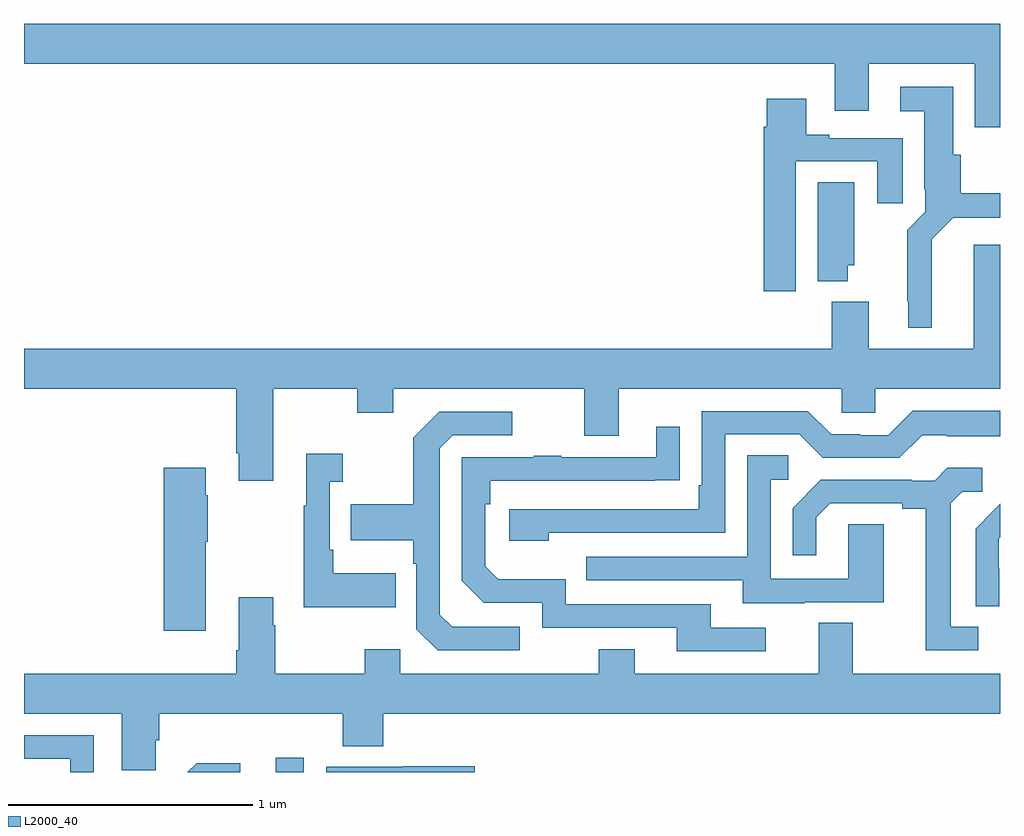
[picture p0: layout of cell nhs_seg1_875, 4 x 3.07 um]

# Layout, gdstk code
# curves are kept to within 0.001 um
import gdstk
lib = gdstk.Library(unit=1e-6, precision=1e-09)
def R(c, l, rs):  # rectangles x0, y0, x1, y1
    for r in rs: c.add(gdstk.rectangle(r[:2], r[2:], *l))
def P(c, l, *ps):  # polygons
    for p in ps: c.add(gdstk.Polygon(p, *l))
L2000_40 = (2000, 40)

nhs_seg1_875 = lib.new_cell('nhs_seg1_875')
R(nhs_seg1_875, L2000_40, [(160.031,510.199,160.146,510.259)])
P(nhs_seg1_875, L2000_40, [(163,513.268),(159,513.268),(159,513.104),(162.323,513.104),(162.323,512.91),(162.463,512.91),(162.463,513.104),(162.897,513.104),(162.897,512.844),(163,512.844)],
  [(162.721,512.384),(162.808,512.472),(163,512.472),(163,512.573),(162.839,512.573),(162.839,512.73),(162.808,512.73),(162.808,513.01),(162.591,513.01),(162.591,512.909),(162.689,512.909),(162.689,512.59),(162.693,512.59),(162.693,512.496),(162.619,512.422),(162.619,512.131),(162.623,512.131),(162.623,512.021),(162.721,512.021)],
  [(162.163,512.703),(162.497,512.703),(162.497,512.532),(162.601,512.532),(162.601,512.799),(162.301,512.799),(162.301,512.812),(162.205,512.812),(162.205,512.959),(162.044,512.959),(162.044,512.846),(162.032,512.846),(162.032,512.172),(162.163,512.172)],
  [(162.376,512.277),(162.403,512.277),(162.403,512.618),(162.254,512.618),(162.254,512.213),(162.376,512.213)],
  [(160.021,511.772),(160.366,511.772),(160.366,511.673),(160.513,511.673),(160.513,511.772),(161.297,511.772),(161.297,511.578),(161.437,511.578),(161.437,511.772),(162.351,511.772),(162.351,511.674),(162.489,511.674),(162.489,511.772),(163,511.772),(163,512.362),(162.893,512.362),(162.893,511.936),(162.463,511.936),(162.463,512.128),(162.311,512.128),(162.311,511.936),(159,511.936),(159,511.772),(159.869,511.772),(159.869,511.507),(159.881,511.507),(159.881,511.395),(160.021,511.395)],
  [(161.15,511.182),(161.874,511.182),(161.874,511.584),(162.177,511.584),(162.273,511.488),(162.588,511.488),(162.681,511.581),(162.781,511.581),(162.781,511.577),(163,511.577),(163,511.681),(162.643,511.681),(162.543,511.581),(162.428,511.581),(162.428,511.584),(162.309,511.584),(162.213,511.68),(161.778,511.68),(161.778,511.375),(161.765,511.375),(161.765,511.278),(160.989,511.278),(160.989,511.148),(161.15,511.148)],
  [(161.032,510.795),(160.755,510.795),(160.704,510.846),(160.704,511.527),(160.758,511.581),(161.002,511.581),(161.002,511.677),(160.701,511.677),(160.596,511.571),(160.596,511.299),(160.339,511.299),(160.339,511.151),(160.596,511.151),(160.596,511.055),(160.608,511.055),(160.608,510.786),(160.695,510.699),(161.032,510.699)],
  [(162.04,510.792),(161.815,510.792),(161.815,510.888),(161.22,510.888),(161.22,510.991),(160.943,510.991),(160.89,511.044),(160.89,511.298),(160.91,511.298),(160.91,511.395),(161.687,511.396),(161.687,511.615),(161.591,511.615),(161.591,511.491),(161.201,511.491),(161.201,511.496),(161.089,511.496),(161.089,511.491),(160.794,511.491),(160.794,510.984),(160.884,510.894),(161.124,510.894),(161.124,510.792),(161.675,510.792),(161.675,510.696),(162.04,510.696)],
  [(160.523,511.015),(160.267,511.015),(160.267,511.111),(160.254,511.111),(160.254,511.391),(160.306,511.391),(160.306,511.504),(160.157,511.504),(160.157,511.291),(160.146,511.291),(160.146,510.875),(160.523,510.875)],
  [(162.199,510.897),(162.523,510.897),(162.523,511.217),(162.378,511.217),(162.378,510.993),(162.06,510.993),(162.06,511.398),(162.133,511.398),(162.133,511.499),(161.964,511.499),(161.964,511.083),(161.305,511.083),(161.305,510.987),(161.945,510.987),(161.945,510.893),(162.199,510.893)],
  [(162.91,510.795),(162.799,510.795),(162.799,511.303),(162.846,511.35),(162.928,511.35),(162.928,511.447),(162.784,511.447),(162.732,511.395),(162.638,511.395),(162.638,511.398),(162.266,511.398),(162.15,511.282),(162.15,511.089),(162.247,511.089),(162.247,511.245),(162.304,511.302),(162.599,511.302),(162.599,511.28),(162.695,511.28),(162.695,510.699),(162.91,510.699)],
  [(159.745,511.145),(159.753,511.145),(159.753,511.334),(159.745,511.334),(159.745,511.447),(159.572,511.447),(159.572,510.78),(159.745,510.78)],
  [(162.996,511.034),(162.995,511.034),(162.995,511.157),(163,511.162),(163,511.3),(162.972,511.272),(162.973,511.271),(162.9,511.198),(162.9,510.88),(162.996,510.88)],
  [(159.54,510.331),(159.554,510.331),(159.554,510.44),(160.307,510.44),(160.307,510.307),(160.472,510.307),(160.472,510.44),(163,510.44),(163,510.604),(162.397,510.604),(162.397,510.812),(162.257,510.812),(162.257,510.604),(161.503,510.604),(161.503,510.703),(161.356,510.703),(161.356,510.604),(160.542,510.604),(160.542,510.703),(160.396,510.703),(160.396,510.604),(160.029,510.604),(160.029,510.803),(160.021,510.803),(160.021,510.916),(159.881,510.916),(159.881,510.7),(159.869,510.7),(159.869,510.604),(159,510.604),(159,510.44),(159.401,510.44),(159.401,510.208),(159.54,510.208)],
  [(159.285,510.351),(159,510.351),(159,510.255),(159.189,510.255),(159.189,510.199),(159.285,510.199)],
  [(159.886,510.236),(159.707,510.236),(159.67,510.199),(159.886,510.199)],
  [(160.847,510.224),(160.555,510.224),(160.555,510.222),(160.239,510.222),(160.239,510.199),(160.847,510.199)])

lib.write_gds('nhs_seg1_875.gds')
